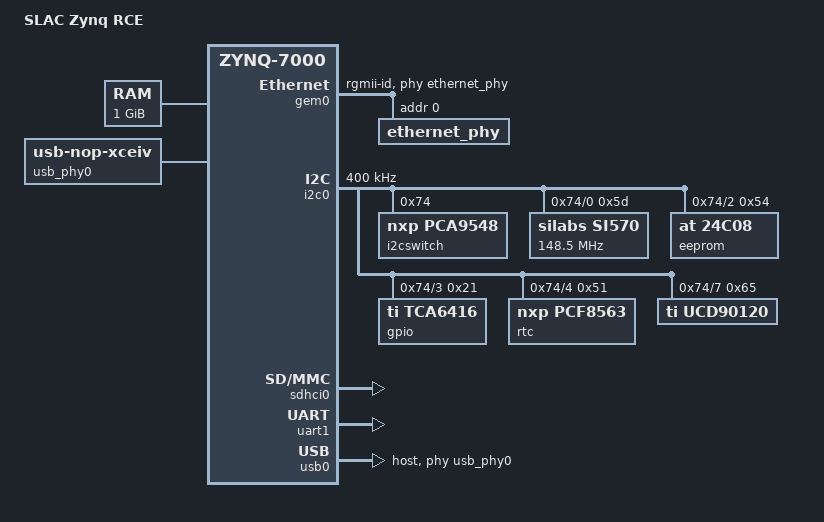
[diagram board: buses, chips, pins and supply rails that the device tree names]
/*
 *  Copyright (C) 2011 - 2014 Xilinx
 *  Copyright (C) 2012 National Instruments Corp.
 *
 * This software is licensed under the terms of the GNU General Public
 * License version 2, as published by the Free Software Foundation, and
 * may be copied, distributed, and modified under those terms.
 *
 * This program is distributed in the hope that it will be useful,
 * but WITHOUT ANY WARRANTY; without even the implied warranty of
 * MERCHANTABILITY or FITNESS FOR A PARTICULAR PURPOSE.  See the
 * GNU General Public License for more details.
 */
/dts-v1/;
/include/ "zynq-7000.dtsi"

/ {
	model = "SLAC Zynq RCE";
	compatible = "xlnx,zynq-rce", "xlnx,zynq-7000";

	aliases {
		ethernet0 = &gem0;
		i2c0 = &i2c0;
		serial0 = &uart1;
	};

	memory {
		device_type = "memory";
		reg = <0x0 0x40000000>;
	};

	chosen {
		bootargs = "console=ttyPS0,115200 root=/dev/mmcblk0p3 rootwait rw earlyprintk";
		linux,stdout-path = "/amba/serial@e0001000";
	};

	usb_phy0: phy0 {
		compatible = "usb-nop-xceiv";
		#phy-cells = <0>;
	};

    amba {
         axi_stream_dma_0@60000000 {
            compatible = "axi_stream_dma";
            reg = <0x60000000 0x20000>;
            interrupts = <0x0 56 0x4>;
            interrupt-parent = <0x1>;
            slac,acp = <0x0>;
         };

         axi_stream_dma_1@60020000 {
            compatible = "axi_stream_dma";
            reg = <0x60020000 0x20000>;
            interrupts = <0x0 57 0x4>;
            interrupt-parent = <0x1>;
            slac,acp = <0x0>;
         };

         axi_stream_dma_2@60040000 {
            compatible = "axi_stream_dma";
            reg = <0x60040000 0x20000>;
            interrupts = <0x0 58 0x4>;
            interrupt-parent = <0x1>;
            slac,acp = <0x1>;
         };

      };
};

&gem0 {
	compatible = "xlnx,ps7-ethernet-1.00.a";
	status = "okay";
	clocks = <&clkc 13>, <&clkc 30>;
	clock-names = "ref_clk", "aper_clk";
    interrupt-parent = <&intc>;
	phy-mode = "rgmii-id";
	phy-handle = <&ethernet_phy>;
		ethernet_phy: ethernet_phy@0 {
			device_type = "ethernet-phy";
			reg = <0x0>;
    };
};

&i2c0 {
	status = "okay";
	clock-frequency = <400000>;

	i2cswitch@74 {
		compatible = "nxp,pca9548";
		#address-cells = <1>;
		#size-cells = <0>;
		reg = <0x74>;

		i2c@0 {
			#address-cells = <1>;
			#size-cells = <0>;
			reg = <0>;
			si570: clock-generator@5d {
				#clock-cells = <0>;
				compatible = "silabs,si570";
				temperature-stability = <50>;
				reg = <0x5d>;
				factory-fout = <156250000>;
				clock-frequency = <148500000>;
			};
		};

		i2c@2 {
			#address-cells = <1>;
			#size-cells = <0>;
			reg = <2>;
			eeprom@54 {
				compatible = "at,24c08";
				reg = <0x54>;
			};
		};

		i2c@3 {
			#address-cells = <1>;
			#size-cells = <0>;
			reg = <3>;
			gpio@21 {
				compatible = "ti,tca6416";
				reg = <0x21>;
				gpio-controller;
				#gpio-cells = <2>;
			};
		};

		i2c@4 {
			#address-cells = <1>;
			#size-cells = <0>;
			reg = <4>;
			rtc@51 {
				compatible = "nxp,pcf8563";
				reg = <0x51>;
			};
		};

		i2c@7 {
			#address-cells = <1>;
			#size-cells = <0>;
			reg = <7>;
			ucd90120@65 {
				compatible = "ti,ucd90120";
				reg = <0x65>;
			};
		};
	};
};

&sdhci0 {
	status = "okay";
};

&uart1 {
	status = "okay";
};

&usb0 {
	status = "okay";
	dr_mode = "host";
	phy_type = "ulpi";
	usb-phy = <&usb_phy0>;
};

